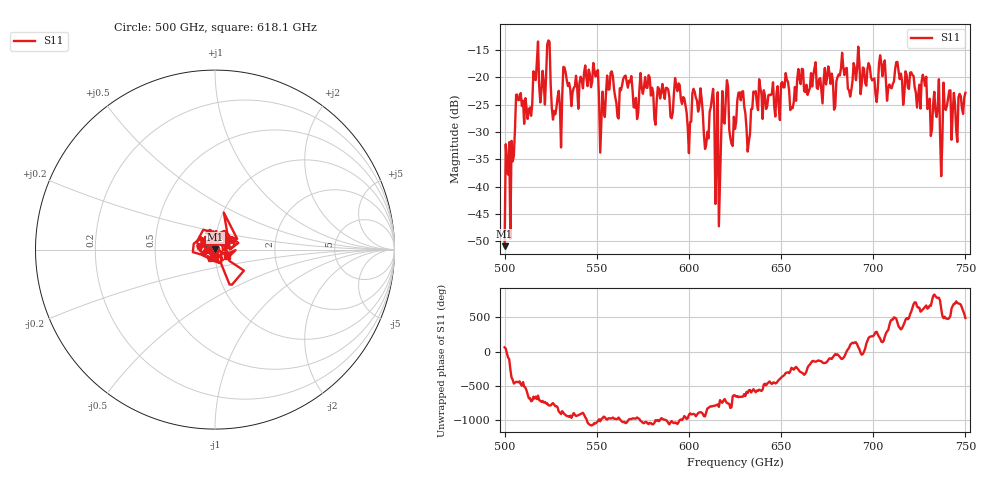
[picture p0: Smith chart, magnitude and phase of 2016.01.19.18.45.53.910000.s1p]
!Created with skrf (http://scikit-rf.org).
# GHz S RI R 50.0
!freq ReS11 ImS11
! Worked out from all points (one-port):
!   401 points, 500 GHz to 750 GHz, reference 50 ohm
!   lowest |S11| = -50.9 dB at 500 GHz (marker M1), VSWR 1.01, Z = 50.1 + j0.251 ohm
!   |S11| at or under -10 dB: start of sweep to end of sweep
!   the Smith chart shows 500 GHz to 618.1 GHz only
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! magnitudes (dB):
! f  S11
! 500 GHz  -50.9
! 507.5 GHz  -24.2
! 513.8 GHz  -25.5
! 516.9 GHz  -20.5
! 520.6 GHz  -18.8
! 523.8 GHz  -13.3
! 526.9 GHz  -26.2
! 531.2 GHz  -23.5
! 549.4 GHz  -19.9
! 553.1 GHz  -22.6
! 556.9 GHz  -22.2
! 562.5 GHz  -22.0
! 593.8 GHz  -22.5
! 605.6 GHz  -25.3
! 609.4 GHz  -32.4
! 612.5 GHz  -23.7
! 615.6 GHz  -22.7
! 619.4 GHz  -28.5
! 625 GHz  -29.5
! 628.1 GHz  -24.2
! 631.9 GHz  -33.6
! 637.5 GHz  -26.0
! 656.2 GHz  -25.7
! 660.6 GHz  -21.3
! 687.5 GHz  -23.5
! 718.8 GHz  -21.8
! 737.5 GHz  -31.5
! 750 GHz  -22.8
